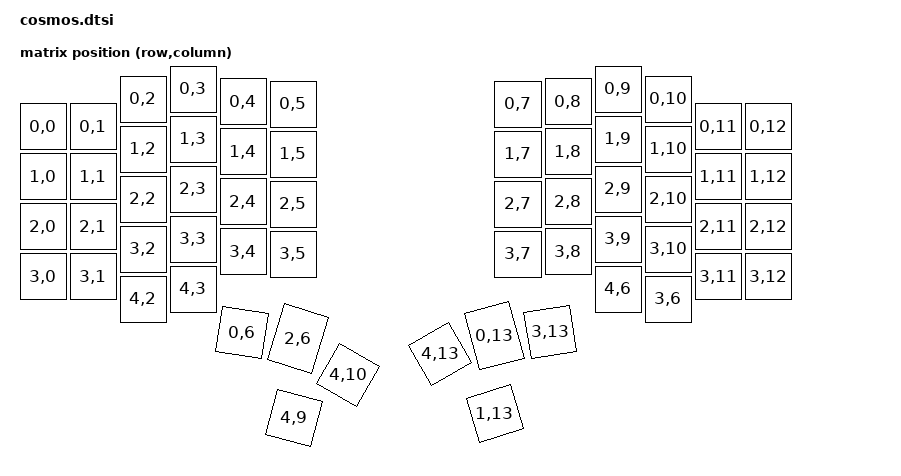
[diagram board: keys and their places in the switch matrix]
#include <dt-bindings/zmk/matrix_transform.h>
#include <physical_layouts.dtsi>

/ {
    chosen {
        zmk,physical-layout = &default_layout;
    };

    default_transform: keymap_transform_0 {
        compatible = "zmk,matrix-transform";
        columns = <14>;  /* 7 cols per half x 2 */
        rows = <5>;

        map = <
            RC(0,0)  RC(0,1)  RC(0,2)  RC(0,3)  RC(0,4)  RC(0,5)              RC(0,7)  RC(0,8)  RC(0,9)  RC(0,10) RC(0,11) RC(0,12) 
            RC(1,0)  RC(1,1)  RC(1,2)  RC(1,3)  RC(1,4)  RC(1,5)              RC(1,7)  RC(1,8)  RC(1,9)  RC(1,10) RC(1,11) RC(1,12) 
            RC(2,0)  RC(2,1)  RC(2,2)  RC(2,3)  RC(2,4)  RC(2,5)              RC(2,7)  RC(2,8)  RC(2,9)  RC(2,10) RC(2,11) RC(2,12) 
            RC(3,0)  RC(3,1)  RC(3,2)  RC(3,3)  RC(3,4)  RC(3,5)              RC(3,7)  RC(3,8)  RC(3,9)  RC(3,10) RC(3,11) RC(3,12) 
            RC(4,2)  RC(4,3)  RC(4,6)  RC(3,6)  RC(0,6)  RC(2,6)              RC(4,9)  RC(4,10) RC(4,13) RC(0,13) RC(1,13) RC(3,13)
        >;
    };

    default_layout: default_layout {
        compatible = "zmk,physical-layout";
        display-name = "Default";

        keys  //                     w   h    x    y     rot    rx    ry
            = <&key_physical_attrs 100 100    0   75       0     0     0>
            , <&key_physical_attrs 100 100  100   75       0     0     0>
            , <&key_physical_attrs 100 100  200   20       0     0     0>
            , <&key_physical_attrs 100 100  300    0       0     0     0>
            , <&key_physical_attrs 100 100  400   25       0     0     0>
            , <&key_physical_attrs 100 100  500   30       0     0     0>
            , <&key_physical_attrs 100 100  950   30       0     0     0>
            , <&key_physical_attrs 100 100 1050   25       0     0     0>
            , <&key_physical_attrs 100 100 1150    0       0     0     0>
            , <&key_physical_attrs 100 100 1250   20       0     0     0>
            , <&key_physical_attrs 100 100 1350   75       0     0     0>
            , <&key_physical_attrs 100 100 1450   75       0     0     0>
            , <&key_physical_attrs 100 100    0  175       0     0     0>
            , <&key_physical_attrs 100 100  100  175       0     0     0>
            , <&key_physical_attrs 100 100  200  120       0     0     0>
            , <&key_physical_attrs 100 100  300  100       0     0     0>
            , <&key_physical_attrs 100 100  400  125       0     0     0>
            , <&key_physical_attrs 100 100  500  130       0     0     0>
            , <&key_physical_attrs 100 100  950  130       0     0     0>
            , <&key_physical_attrs 100 100 1050  125       0     0     0>
            , <&key_physical_attrs 100 100 1150  100       0     0     0>
            , <&key_physical_attrs 100 100 1250  120       0     0     0>
            , <&key_physical_attrs 100 100 1350  175       0     0     0>
            , <&key_physical_attrs 100 100 1450  175       0     0     0>
            , <&key_physical_attrs 100 100    0  275       0     0     0>
            , <&key_physical_attrs 100 100  100  275       0     0     0>
            , <&key_physical_attrs 100 100  200  220       0     0     0>
            , <&key_physical_attrs 100 100  300  200       0     0     0>
            , <&key_physical_attrs 100 100  400  225       0     0     0>
            , <&key_physical_attrs 100 100  500  230       0     0     0>
            , <&key_physical_attrs 100 100  950  230       0     0     0>
            , <&key_physical_attrs 100 100 1050  225       0     0     0>
            , <&key_physical_attrs 100 100 1150  200       0     0     0>
            , <&key_physical_attrs 100 100 1250  220       0     0     0>
            , <&key_physical_attrs 100 100 1350  275       0     0     0>
            , <&key_physical_attrs 100 100 1450  275       0     0     0>
            , <&key_physical_attrs 100 100    0  375       0     0     0>
            , <&key_physical_attrs 100 100  100  375       0     0     0>
            , <&key_physical_attrs 100 100  200  320       0     0     0>
            , <&key_physical_attrs 100 100  300  300       0     0     0>
            , <&key_physical_attrs 100 100  400  325       0     0     0>
            , <&key_physical_attrs 100 100  500  330       0     0     0>
            , <&key_physical_attrs 100 100  950  330       0     0     0>
            , <&key_physical_attrs 100 100 1050  325       0     0     0>
            , <&key_physical_attrs 100 100 1150  300       0     0     0>
            , <&key_physical_attrs 100 100 1250  320       0     0     0>
            , <&key_physical_attrs 100 100 1350  375       0     0     0>
            , <&key_physical_attrs 100 100 1450  375       0     0     0>
            , <&key_physical_attrs 100 100  200  420       0     0     0>
            , <&key_physical_attrs 100 100  300  400       0     0     0>
            , <&key_physical_attrs 100 100 1150  400       0     0     0>
            , <&key_physical_attrs 100 100 1250  420       0     0     0>
            , <&key_physical_attrs 100 100  450  475     900   400   200>
            , <&key_physical_attrs 100 125  550  455    1700   475   400>
            , <&key_physical_attrs 100 100  550  605    1500   375   500>
            , <&key_physical_attrs 100 100  650  475    3000   500   500>
            , <&key_physical_attrs 100 100  900  475 (-3000)  1000   750>
            , <&key_physical_attrs 100 125 1000  455 (-1500)  1100   900>
            , <&key_physical_attrs 100 100 1000  605 (-1700)  1150  1000>
            , <&key_physical_attrs 100 100 1090  455  (-900)  1300  1000>
            ;
    };
};

&default_layout {
    transform = <&default_transform>;
};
